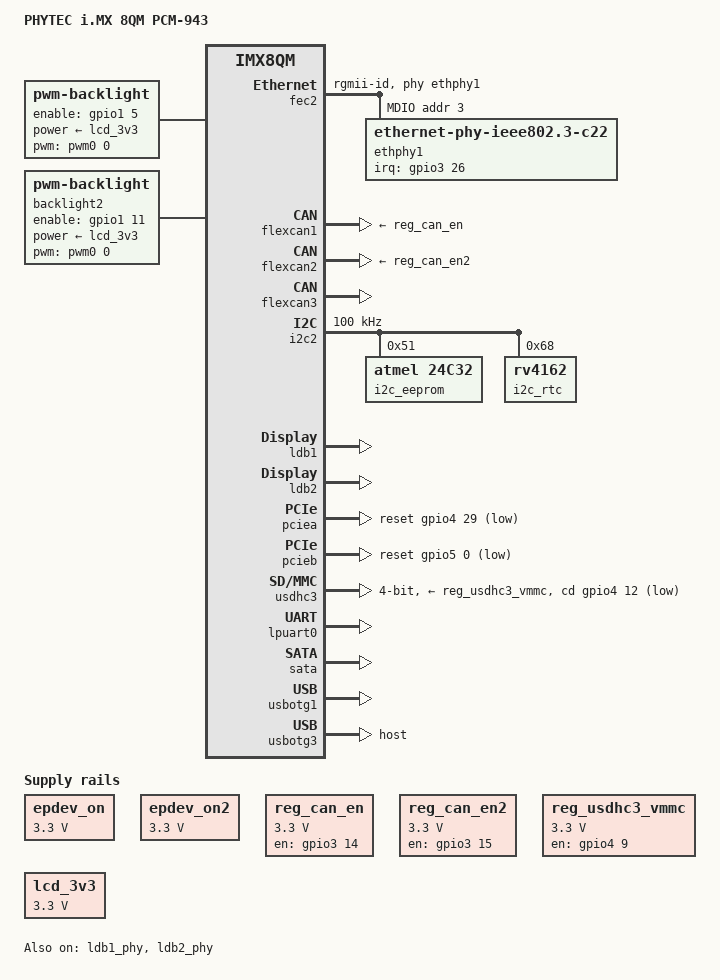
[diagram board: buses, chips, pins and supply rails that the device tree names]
/*
 * Copyright (C) 2017 PHYTEC Messtechnik GmbH
 * Author: Christian Hemp <c.hemp@phytec.de>
 *
 * This program is free software; you can redistribute it and/or
 * modify it under the terms of the GNU General Public License
 * as published by the Free Software Foundation; either version 2
 * of the License, or (at your option) any later version.
 *
 * This program is distributed in the hope that it will be useful,
 * but WITHOUT ANY WARRANTY; without even the implied warranty of
 * MERCHANTABILITY or FITNESS FOR A PARTICULAR PURPOSE.  See the
 * GNU General Public License for more details.
 */

/ {
	model = "PHYTEC i.MX 8QM PCM-943";
	compatible = "phytec,imx8qm-pcm-943", "phytec,imx8qm-phycore-som", "fsl,imx8qm";

	chosen {
		bootargs = "console=ttyLP0,115200 earlycon=lpuart32,0x5a060000,115200";
		stdout-path = &lpuart0;
	};

	backlight: backlight {
		compatible = "pwm-backlight";
		pinctrl-names = "default";
		pinctrl-0 = <&pinctrl_lcd>;
		default-brightness-level = <7>;
		power-supply = <&lcd_3v3>;
		pwms = <&pwm0 0 5000000>;
		enable-gpios = <&gpio1 5 GPIO_ACTIVE_HIGH>;
		brightness-levels = <0 4 8 16 32 64 128 255>;
		status = "okay";
	};

	backlight2: backlight2 {
		compatible = "pwm-backlight";
		pinctrl-names = "default";
		pinctrl-0 = <&pinctrl_lcd2>;
		default-brightness-level = <7>;
		power-supply = <&lcd_3v3>;
		pwms = <&pwm0 0 5000000>;
		enable-gpios = <&gpio1 11 GPIO_ACTIVE_HIGH>;
		brightness-levels = <0 4 8 16 32 64 128 255>;
		status = "okay";
	};

	regulators {
		compatible = "simple-bus";
		#address-cells = <1>;
		#size-cells = <0>;

		epdev_on: fixedregulator@100 {
			compatible = "regulator-fixed";
			regulator-min-microvolt = <3300000>;
			regulator-max-microvolt = <3300000>;
			regulator-name = "epdev_on";
		};

		epdev_on2: fixedregulator@101 {
			compatible = "regulator-fixed";
			regulator-min-microvolt = <3300000>;
			regulator-max-microvolt = <3300000>;
			regulator-name = "epdev_on2";
		};

		reg_can_en: regulator-can-gen {
			compatible = "regulator-fixed";
			regulator-name = "can-en";
			regulator-min-microvolt = <3300000>;
			regulator-max-microvolt = <3300000>;
			gpio = <&gpio3 14 GPIO_ACTIVE_HIGH>;
			enable-active-high;
		};

		reg_can_en2: regulator-can-gen2 {
			compatible = "regulator-fixed";
			regulator-name = "can-en2";
			regulator-min-microvolt = <3300000>;
			regulator-max-microvolt = <3300000>;
			gpio = <&gpio3 15 GPIO_ACTIVE_HIGH>;
			enable-active-high;
		};

		reg_usdhc3_vmmc: usdhc3_vmmc {
			compatible = "regulator-fixed";
			regulator-name = "sw-3p3-sd1";
			regulator-min-microvolt = <3300000>;
			regulator-max-microvolt = <3300000>;
			gpio = <&gpio4 9 GPIO_ACTIVE_HIGH>;
			enable-active-high;
		};

		lcd_3v3: lcd_vcc3v3 {
			compatible = "regulator-fixed";
			regulator-name = "lcd_3v3";
			regulator-min-microvolt = <3300000>;
			regulator-max-microvolt = <3300000>;
		};
	};

};

&fec2 {
	pinctrl-names = "default";
	pinctrl-0 = <&pinctrl_fec2>;
	phy-mode = "rgmii-id";
	phy-handle = <&ethphy1>;
	fsl,magic-packet;
	fsl,mii-exclusive;
	status = "okay";

	mdio@1 {
		#address-cells = <1>;
		#size-cells = <0>;

		ethphy1: ethernet-phy@2 {
			compatible = "ethernet-phy-ieee802.3-c22";
			reg = <3>;
			interrupt-parent = <&gpio3>;
			interrupts = <26 IRQ_TYPE_EDGE_FALLING>;
			ti,rx-internal-delay = <DP83867_RGMIIDCTL_2_50_NS>;
			ti,tx-internal-delay = <DP83867_RGMIIDCTL_2_50_NS>;
			ti,fifo-depth = <DP83867_PHYCR_FIFO_DEPTH_8_B_NIB>;
			enet-phy-lane-no-swap;
		};
	};
};

&flexcan1 {
	pinctrl-names = "default";
	pinctrl-0 = <&pinctrl_flexcan1>;
	xceiver-supply = <&reg_can_en>;
	status = "okay";
};

&flexcan2 {
	pinctrl-names = "default";
	pinctrl-0 = <&pinctrl_flexcan2>;
	xceiver-supply = <&reg_can_en2>;
	status = "okay";
};

&flexcan3 {
	pinctrl-names = "default";
	pinctrl-0 = <&pinctrl_flexcan3>;
	status = "okay";
};

&i2c2 {
	#address-cells = <1>;
	#size-cells = <0>;
	clock-frequency = <100000>;
	pinctrl-names = "default";
	pinctrl-0 = <&pintctrl_i2c2>;
	status = "okay";

	i2c_eeprom: eeprom@51 {
		compatible = "atmel,24c32";
		pagesize = <32>;
		reg = <0x51>;
	};

	i2c_rtc: rtc@68 {
		compatible = "rv4162";
		reg = <0x68>;
		status = "okay";
	};
};

&ldb1_phy {
	status = "okay";
};

&ldb1 {
	status = "okay";

	lvds-channel@0 {
		fsl,data-mapping = "jeida";
		fsl,data-width = <24>;
		status = "okay";

		display-timings {
			native-mode = <&timing1>;
			timing1: ETM0700G0DH6 {
				clock-frequency = <33260000>;
				hactive = <800>;
				vactive = <480>;
				hback-porch = <216>;
				hfront-porch = <40>;
				hsync-len = <128>;
				vback-porch = <35>;
				vfront-porch = <10>;
				vsync-len = <2>;
			};
		};
	};
};

&ldb2_phy {
	status = "okay";
};

&ldb2 {
	status = "okay";

	lvds-channel@0 {
		fsl,data-mapping = "jeida";
		fsl,data-width = <24>;
		status = "okay";

		display-timings {
			native-mode = <&timing0>;
			timing0: ETM0700G0DH6 {
				clock-frequency = <33260000>;
				hactive = <800>;
				vactive = <480>;
				hback-porch = <216>;
				hfront-porch = <40>;
				hsync-len = <128>;
				vback-porch = <35>;
				vfront-porch = <10>;
				vsync-len = <2>;
			};
		};
	};
};

&pciea{
	ext_osc = <1>;
	pinctrl-names = "default";
	pinctrl-0 = <&pinctrl_pciea>;
	clkreq-gpio = <&gpio4 28 GPIO_ACTIVE_LOW>;
	reset-gpio = <&gpio4 29 GPIO_ACTIVE_LOW>;
	status = "okay";
};

&pcieb {
	ext_osc = <1>;
	pinctrl-names = "default";
	pinctrl-0 = <&pinctrl_pcieb>;
	clkreq-gpio = <&gpio4 31 GPIO_ACTIVE_LOW>;
	reset-gpio = <&gpio5 0 GPIO_ACTIVE_LOW>;
	epdev_on-supply = <&epdev_on2>;
	status = "okay";
};

&usdhc3 {
	pinctrl-names = "default", "state_100mhz", "state_200mhz";
	pinctrl-0 = <&pinctrl_usdhc3>, <&pinctrl_usdhc3_gpio>;
	pinctrl-1 = <&pinctrl_usdhc3_100mhz>, <&pinctrl_usdhc3_gpio>;
	pinctrl-2 = <&pinctrl_usdhc3_200mhz>, <&pinctrl_usdhc3_gpio>;
	bus-width = <4>;
	cd-gpios = <&gpio4 12 GPIO_ACTIVE_LOW>;
	vmmc-supply = <&reg_usdhc3_vmmc>;
	no-1-8-v;
	status = "okay";
};

&lpuart0 { /* console */
	pinctrl-names = "default";
	pinctrl-0 = <&pinctrl_lpuart0>;
	status = "okay";
};


&sata {
	status = "okay";
};

&usbotg1 {
	pinctrl-names = "default";
	pinctrl-0 = <&pinctrl_usbotg1>;
	srp-disable;
	hnp-disable;
	adp-disable;
	power-polarity-active-high;
	disable-over-current;
	status = "okay";
};

&usbotg3 {
	dr_mode = "host";
	status = "okay";
};

&iomuxc {
	imx8qm-pcm-943 {
		pinctrl_fec2: fec2grp {
			fsl,pins = <
				SC_P_ENET1_MDC_CONN_ENET1_MDC			0x06000020
				SC_P_ENET1_MDIO_CONN_ENET1_MDIO			0x06000020
				SC_P_ENET1_RGMII_TX_CTL_CONN_ENET1_RGMII_TX_CTL	0x06000020
				SC_P_ENET1_RGMII_TXC_CONN_ENET1_RGMII_TXC	0x06000020
				SC_P_ENET1_RGMII_TXD0_CONN_ENET1_RGMII_TXD0	0x06000020
				SC_P_ENET1_RGMII_TXD1_CONN_ENET1_RGMII_TXD1	0x06000020
				SC_P_ENET1_RGMII_TXD2_CONN_ENET1_RGMII_TXD2	0x06000020
				SC_P_ENET1_RGMII_TXD3_CONN_ENET1_RGMII_TXD3	0x06000020
				SC_P_ENET1_RGMII_RXC_CONN_ENET1_RGMII_RXC	0x06000020
				SC_P_ENET1_RGMII_RX_CTL_CONN_ENET1_RGMII_RX_CTL	0x06000020
				SC_P_ENET1_RGMII_RXD0_CONN_ENET1_RGMII_RXD0	0x06000020
				SC_P_ENET1_RGMII_RXD1_CONN_ENET1_RGMII_RXD1	0x06000020
				SC_P_ENET1_RGMII_RXD2_CONN_ENET1_RGMII_RXD2	0x06000020
				SC_P_ENET1_RGMII_RXD3_CONN_ENET1_RGMII_RXD3	0x06000020
				SC_P_MLB_SIG_LSIO_GPIO3_IO26			0x00000021
			>;
		};

		pinctrl_lcd: lcd0grp{
			fsl,pins = <
				SC_P_LVDS0_GPIO01_LSIO_GPIO1_IO05	0x00000021
				SC_P_LVDS0_GPIO00_LVDS0_PWM0_OUT	0x06000020
			>;
		};

		pinctrl_lcd2: lcd2grp{
			fsl,pins = <
				SC_P_LVDS1_GPIO01_LSIO_GPIO1_IO11	0x00000021
				SC_P_LVDS1_GPIO00_LVDS1_PWM0_OUT	0x06000020
			>;
		};

		pintctrl_i2c2: i2c2grp {
			fsl,pins = <
				SC_P_GPT1_CLK_DMA_I2C2_SCL		0xc600004c
				SC_P_GPT1_CAPTURE_DMA_I2C2_SDA		0xc600004c
			>;
		};
 
		pinctrl_flexcan1: flexcan0grp {
			fsl,pins = <
				SC_P_FLEXCAN0_TX_DMA_FLEXCAN0_TX	0x21
				SC_P_FLEXCAN0_RX_DMA_FLEXCAN0_RX	0x21
				SC_P_SAI1_RXFS_LSIO_GPIO3_IO14		0x00000021
			>;
		};

		pinctrl_flexcan2: flexcan1grp {
			fsl,pins = <
				SC_P_FLEXCAN1_TX_DMA_FLEXCAN1_TX	0x21
				SC_P_FLEXCAN1_RX_DMA_FLEXCAN1_RX	0x21
				SC_P_SAI1_TXC_LSIO_GPIO3_IO15		0x00000021
			>;
		};

		pinctrl_flexcan3: flexcan2grp {
			fsl,pins = <
				SC_P_FLEXCAN2_TX_DMA_FLEXCAN2_TX	0x21
				SC_P_FLEXCAN2_RX_DMA_FLEXCAN2_RX	0x21
			>;
		};
		pinctrl_lpuart0: lpuart0grp {
			fsl,pins = <
				SC_P_UART0_RX_DMA_UART0_RX		0x06000020
				SC_P_UART0_TX_DMA_UART0_TX		0x06000020
			>;
		};

		pinctrl_pciea: pcieagrp{
			fsl,pins = <
				SC_P_PCIE_CTRL0_WAKE_B_LSIO_GPIO4_IO28	0x00000021
				SC_P_PCIE_CTRL0_PERST_B_LSIO_GPIO4_IO29	0x00000021
			>;
		};

		pinctrl_pcieb: pciebgrp{
			fsl,pins = <
				SC_P_PCIE_CTRL1_WAKE_B_LSIO_GPIO4_IO31	0x00000021
				SC_P_PCIE_CTRL1_PERST_B_LSIO_GPIO5_IO00	0x00000021
			>;
		};

		pinctrl_usbotg1: usbotg1 {
			fsl,pins = <
				SC_P_USB_SS3_TC0_CONN_USB_OTG1_PWR		0x00000021
			>;
		};

		pinctrl_usdhc3_gpio: usdhc3grpgpio {
			fsl,pins = <
				SC_P_USDHC2_CD_B_LSIO_GPIO4_IO12	0x00000021
				SC_P_USDHC2_RESET_B_LSIO_GPIO4_IO09	0x00000021
			>;
		};

		pinctrl_usdhc3: usdhc3grp {
			fsl,pins = <
				SC_P_USDHC2_CLK_CONN_USDHC2_CLK		0x06000041
				SC_P_USDHC2_CMD_CONN_USDHC2_CMD		0x00000021
				SC_P_USDHC2_DATA0_CONN_USDHC2_DATA0	0x00000021
				SC_P_USDHC2_DATA1_CONN_USDHC2_DATA1	0x00000021
				SC_P_USDHC2_DATA2_CONN_USDHC2_DATA2	0x00000021
				SC_P_USDHC2_DATA3_CONN_USDHC2_DATA3	0x00000021
				SC_P_USDHC2_VSELECT_CONN_USDHC2_VSELECT	0x00000021
			>;
		};

		pinctrl_usdhc3_100mhz: usdhc3grp100mhz {
			fsl,pins = <
				SC_P_USDHC2_CLK_CONN_USDHC2_CLK		0x06000040
				SC_P_USDHC2_CMD_CONN_USDHC2_CMD		0x00000020
				SC_P_USDHC2_DATA0_CONN_USDHC2_DATA0	0x00000020
				SC_P_USDHC2_DATA1_CONN_USDHC2_DATA1	0x00000020
				SC_P_USDHC2_DATA2_CONN_USDHC2_DATA2	0x00000020
				SC_P_USDHC2_DATA3_CONN_USDHC2_DATA3	0x00000020
				SC_P_USDHC2_VSELECT_CONN_USDHC2_VSELECT	0x00000020
			>;
		};

		pinctrl_usdhc3_200mhz: usdhc3grp200mhz {
			fsl,pins = <
				SC_P_USDHC2_CLK_CONN_USDHC2_CLK		0x06000040
				SC_P_USDHC2_CMD_CONN_USDHC2_CMD		0x00000020
				SC_P_USDHC2_DATA0_CONN_USDHC2_DATA0	0x00000020
				SC_P_USDHC2_DATA1_CONN_USDHC2_DATA1	0x00000020
				SC_P_USDHC2_DATA2_CONN_USDHC2_DATA2	0x00000020
				SC_P_USDHC2_DATA3_CONN_USDHC2_DATA3	0x00000020
				SC_P_USDHC2_VSELECT_CONN_USDHC2_VSELECT	0x00000020
			>;
		};
	};
};
